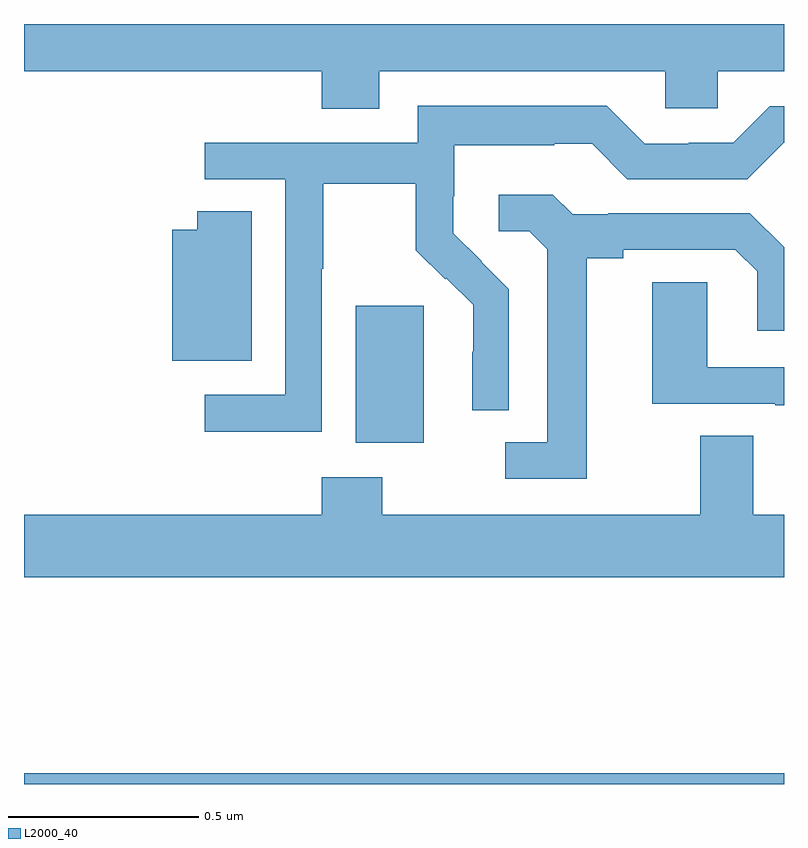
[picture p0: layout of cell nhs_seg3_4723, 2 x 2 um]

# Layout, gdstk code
import gdstk
lib = gdstk.Library(unit=1e-6, precision=1e-09)
def R(c, l, rs):  # rectangles x0, y0, x1, y1
    for r in rs: c.add(gdstk.rectangle(r[:2], r[2:], *l))
def P(c, l, *ps):  # polygons
    for p in ps: c.add(gdstk.Polygon(p, *l))
L2000_40 = (2000, 40)

nhs_seg3_4723 = lib.new_cell('nhs_seg3_4723')
R(nhs_seg3_4723, L2000_40, [(170,672.4,172,672.428), (170.873,673.298,171.052,673.659)])
P(nhs_seg3_4723, L2000_40, [(170.935,674.276),(171.687,674.276),(171.687,674.178),(171.825,674.178),(171.825,674.276),(172,674.276),(172,674.4),(170,674.4),(170,674.276),(170.783,674.276),(170.783,674.177),(170.935,674.177)],
  [(170.784,673.756),(170.787,673.756),(170.787,673.98),(171.031,673.98),(171.031,673.805),(171.108,673.728),(171.111,673.731),(171.182,673.661),(171.182,673.538),(171.18,673.538),(171.18,673.384),(171.276,673.384),(171.276,673.702),(171.203,673.775),(171.204,673.776),(171.13,673.85),(171.13,673.947),(171.132,673.947),(171.132,674.081),(171.395,674.081),(171.395,674.085),(171.495,674.085),(171.588,673.992),(171.903,673.992),(171.999,674.088),(172,674.088),(172,674.184),(171.963,674.184),(171.867,674.088),(171.749,674.088),(171.749,674.085),(171.633,674.085),(171.533,674.185),(171.036,674.185),(171.036,674.088),(170.475,674.088),(170.475,673.992),(170.688,673.992),(170.688,673.425),(170.475,673.425),(170.475,673.327),(170.784,673.327)],
  [(171.481,673.784),(171.577,673.784),(171.577,673.806),(171.872,673.806),(171.929,673.749),(171.929,673.593),(172,673.593),(172,673.812),(171.91,673.902),(171.538,673.902),(171.538,673.899),(171.444,673.899),(171.392,673.951),(171.249,673.951),(171.249,673.854),(171.33,673.854),(171.377,673.807),(171.377,673.299),(171.267,673.299),(171.267,673.203),(171.481,673.203)],
  [(170.599,673.907),(170.456,673.907),(170.456,673.858),(170.39,673.858),(170.39,673.514),(170.599,673.514)],
  [(172,673.497),(171.798,673.497),(171.798,673.721),(171.653,673.721),(171.653,673.401),(171.977,673.401),(171.977,673.397),(172,673.397)],
  [(172,673.108),(171.919,673.108),(171.919,673.316),(171.779,673.316),(171.779,673.108),(170.943,673.108),(170.943,673.207),(170.783,673.207),(170.783,673.108),(170,673.108),(170,672.944),(172,672.944)])

lib.write_gds('nhs_seg3_4723.gds')
